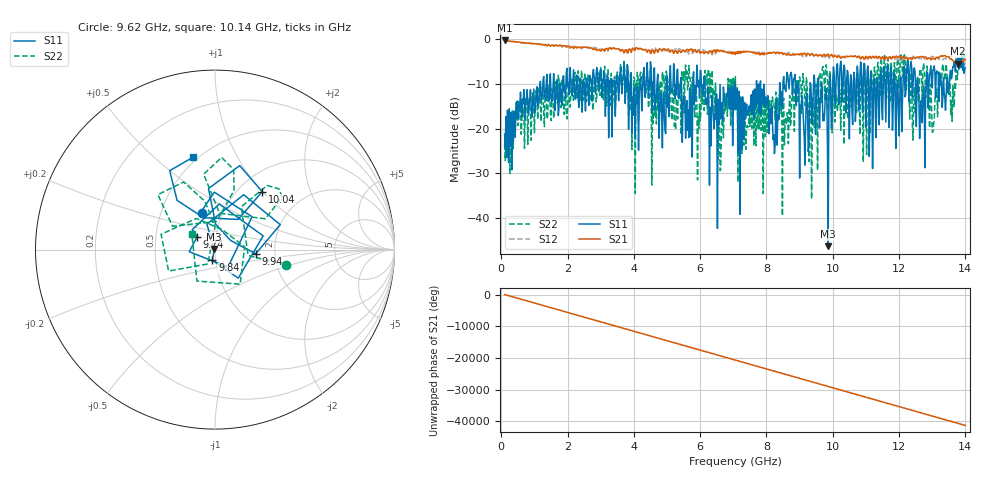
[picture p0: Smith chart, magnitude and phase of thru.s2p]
!Keysight Technologies,E5080B,MY59100652,A.14.10.03
!Date: Wednesday, May 25, 2022 15:44:09
!Correction: S11(Off)
!S21(Off)
!S12(Off)
!S22(Off)
!S2P File: Measurement: :
# Hz S  RI  R 50
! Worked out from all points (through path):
!   696 points, 100 MHz to 14 GHz, reference 50 ohm
!   highest |S21| = -0.33 dB at 120 MHz (marker M1); lowest = -5.5 dB at 13.78 GHz (marker M2)
!   lowest |S11| = -46.2 dB at 9.86 GHz (marker M3), VSWR 1.01, Z = 49.6 + j0.279 ohm
!   |S11| at or under -10 dB: start of sweep to 1.17 GHz; 6.142 GHz to 7.059 GHz (916.4 MHz wide, 13.9 % of centre); 7.061 GHz to 7.698 GHz (636.3 MHz wide, 8.62 % of centre) (the widest 3 of 100)
!   |S22| runs from -39.5 to -3.1 dB; largest |S21 - S12| = 0.073
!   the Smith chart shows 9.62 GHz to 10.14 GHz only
!   S11 on the Smith chart (normalised r, x): 9.62 GHz: 0.80, +0.34; 9.74 GHz: 0.81, +0.12; 9.84 GHz: 0.96, -0.11; 9.94 GHz: 1.58, -0.08; 10.04 GHz: 1.28, +1.00; 10.14 GHz: 0.47, +0.68
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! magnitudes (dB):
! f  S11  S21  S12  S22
! 100 MHz  -21.2  -0.3  -0.3  -23.5
! 120 MHz  -24.3  -0.3  -0.3  -27.2
! 2.42 GHz  -13.9  -1.8  -2.2  -7.0
! 4.74 GHz  -14.1  -2.8  -2.7  -12.5
! 5.62 GHz  -20.4  -2.3  -2.9  -11.4
! 5.96 GHz  -9.3  -2.7  -2.4  -20.0
! 6.3 GHz  -15.2  -2.9  -3.1  -7.8
! 6.6 GHz  -10.1  -2.6  -2.7  -29.4
! 7.06 GHz  -9.6  -3.5  -3.5  -8.4
! 7.32 GHz  -22.2  -2.9  -2.9  -23.7
! 9.38 GHz  -18.8  -3.4  -3.3  -21.8
! 9.62 GHz  -13.3  -3.5  -3.6  -7.9
! 9.74 GHz  -18.2  -3.4  -3.8  -9.6
! 9.84 GHz  -24.3  -3.4  -3.8  -9.2
! 9.86 GHz  -46.2  -3.4  -3.7  -16.1
! 9.94 GHz  -12.8  -3.5  -3.7  -11.2
! 10.04 GHz  -7.6  -3.8  -3.7  -13.9
! 10.14 GHz  -5.5  -4.1  -3.8  -16.1
! 11.7 GHz  -19.8  -4.0  -4.0  -12.3
! 13.04 GHz  -7.0  -4.3  -3.9  -18.9
! 13.78 GHz  -4.1  -5.5  -4.9  -5.1
! 14 GHz  -6.5  -4.6  -5.7  -3.2
